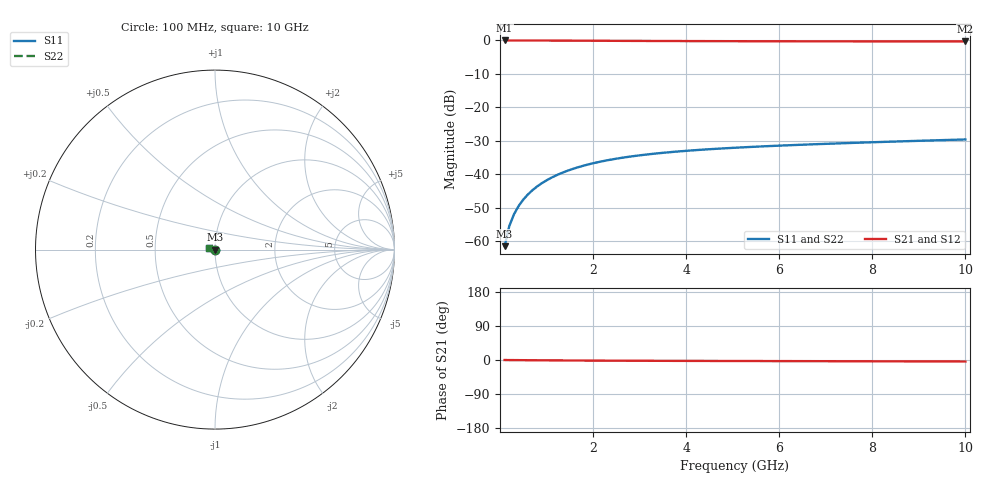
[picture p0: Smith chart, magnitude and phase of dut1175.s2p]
! Touchstone file exported from HFSS 2024.1.0
!  File:  C:/UserFiles/LocalFiles/RDL_TSV_Batchsim/temp_TSV1_1175_1780074085.aedt
!  Generated:  01:08:15 AM May 30, 2026
!  Design:  TSV1
!  Project:  temp_TSV1_1175_1780074085
!  Setup:  Setup1
!  Solution:  Sweep
! Variables:
!  dtsv = 10.34um
!  hbump = 3um
!  htsv = 56.68um
!  lrdl = 252.1521522um
!  p = 40
!  p1 = 58.28um
!  t = 500um
!  trdl = 3um
!  wrdl = 24.89489489um
# GHz S MA R 50.000000
! Terminal data exported
! Port[1] = TSV22_T1
! Port[2] = TSV22_T2
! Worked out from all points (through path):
!   100 points, 100 MHz to 10 GHz, reference 50 ohm
!   highest |S21| = 0.00 dB at 100 MHz (marker M1); lowest = -0.3 dB at 10 GHz (marker M2)
!   lowest |S11| = -61.4 dB at 100 MHz (marker M3), VSWR 1.00, Z = 50 - j0.0846 ohm
!   |S11| at or under -10 dB: start of sweep to end of sweep
!   |S22| runs from -61.4 to -29.6 dB; largest |S21 - S12| = 4.1e-15
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0.1  0.0008499 -84.7  0.9999 -0.1  0.9999 -0.1  0.0008499 -84.7
! Gamma 0 0 0 0
! Port Impedance 50 0 50 0
0.2  0.001691 -90.4  0.9997 -0.2  0.9997 -0.2  0.001691 -90.4
0.3  0.002534 -93.7  0.9996 -0.3  0.9996 -0.3  0.002534 -93.7
0.4  0.003373 -96.5  0.9993 -0.4  0.9993 -0.4  0.003373 -96.5
0.5  0.004204 -99.0  0.999 -0.5  0.999 -0.5  0.004204 -99.0
0.6  0.005024 -101.4  0.9987 -0.6  0.9987 -0.6  0.005024 -101.4
0.7  0.005832 -103.7  0.9983 -0.7  0.9983 -0.7  0.005832 -103.7
0.8  0.006625 -106.0  0.9978 -0.7  0.9978 -0.7  0.006625 -106.0
0.9  0.007402 -108.2  0.9974 -0.8  0.9974 -0.8  0.007402 -108.2
1.1  0.008904 -112.4  0.9963 -1.0  0.9963 -1.0  0.008904 -112.4
1.4  0.01101 -118.4  0.9944 -1.2  0.9944 -1.2  0.01101 -118.4
1.6  0.01232 -122.2  0.9931 -1.3  0.9931 -1.3  0.01232 -122.2
1.8  0.01354 -125.8  0.9917 -1.5  0.9917 -1.5  0.01354 -125.8
2.1  0.01521 -131.0  0.9896 -1.6  0.9896 -1.6  0.01521 -131.0
2.5  0.01718 -137.3  0.9869 -1.8  0.9869 -1.8  0.01718 -137.3
2.9  0.01888 -143.1  0.9844 -2.0  0.9844 -2.0  0.01888 -143.1
3.4  0.02069 -149.7  0.9816 -2.2  0.9816 -2.2  0.02069 -149.7
4.2  0.02304 -158.8  0.9779 -2.4  0.9779 -2.4  0.02304 -158.8
5.1  0.02514 -167.5  0.9747 -2.7  0.9747 -2.7  0.02514 -167.5
6.7  0.02813 179.9  0.9707 -3.1  0.9707 -3.1  0.02813 179.9
8.4  0.03085 169.3  0.968 -3.5  0.968 -3.5  0.03085 169.3
10  0.03329 161.0  0.9663 -4.0  0.9663 -4.0  0.03329 161.0
